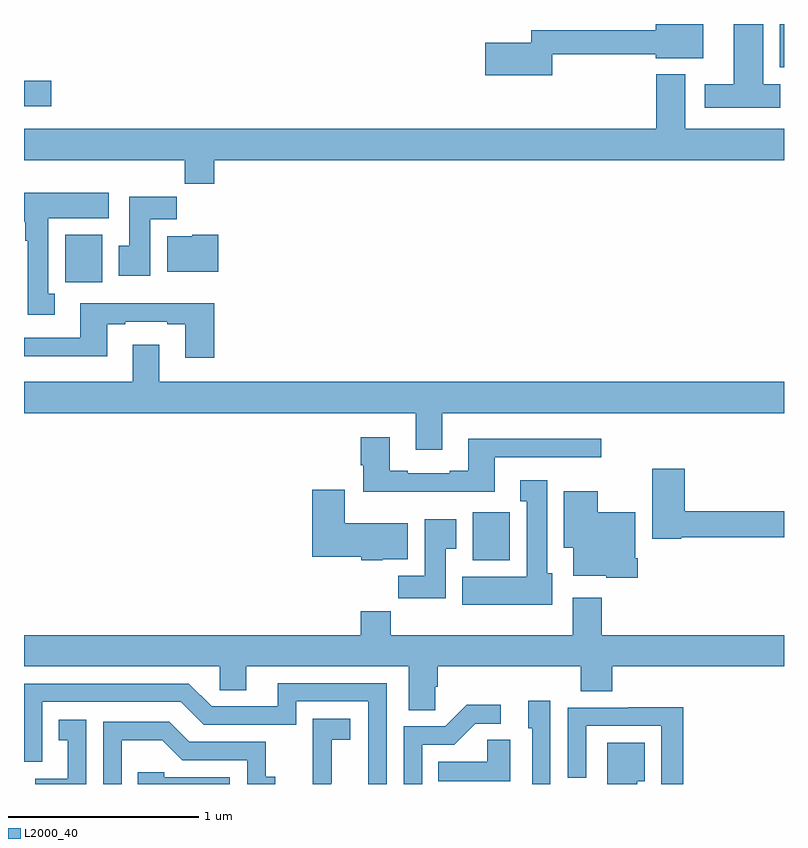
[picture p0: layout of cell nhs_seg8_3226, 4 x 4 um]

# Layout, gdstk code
import gdstk
lib = gdstk.Library(unit=1e-6, precision=1e-09)
def R(c, l, rs):  # rectangles x0, y0, x1, y1
    for r in rs: c.add(gdstk.rectangle(r[:2], r[2:], *l))
def P(c, l, *ps):  # polygons
    for p in ps: c.add(gdstk.Polygon(p, *l))
L2000_40 = (2000, 40)

nhs_seg8_3226 = lib.new_cell('nhs_seg8_3226')
R(nhs_seg8_3226, L2000_40, [(313.361,1097.078,313.557,1097.329), (311.217,1098.54,311.413,1098.79), (311,1099.466,311.143,1099.601), (314.978,1099.673,315,1099.9)])
P(nhs_seg8_3226, L2000_40, [(314.98,1099.582),(314.89,1099.582),(314.89,1099.9),(314.735,1099.9),(314.735,1099.582),(314.583,1099.582),(314.583,1099.46),(314.98,1099.46)],
  [(313.78,1099.74),(314.324,1099.74),(314.324,1099.721),(314.575,1099.721),(314.575,1099.9),(314.324,1099.9),(314.324,1099.868),(313.67,1099.868),(313.67,1099.802),(313.428,1099.802),(313.428,1099.631),(313.78,1099.631)],
  [(312.002,1099.184),(315,1099.184),(315,1099.348),(314.479,1099.348),(314.479,1099.636),(314.327,1099.636),(314.327,1099.348),(311,1099.348),(311,1099.184),(311.845,1099.184),(311.845,1099.06),(312.002,1099.06)],
  [(311.161,1098.481),(311.128,1098.481),(311.128,1098.878),(311.446,1098.878),(311.446,1099.012),(311,1099.012),(311,1098.858),(311.006,1098.858),(311.006,1098.758),(311.021,1098.758),(311.021,1098.369),(311.161,1098.369)],
  [(311.665,1098.872),(311.804,1098.872),(311.804,1098.991),(311.555,1098.991),(311.555,1098.732),(311.498,1098.732),(311.498,1098.576),(311.665,1098.576)],
  [(312.022,1098.79),(311.886,1098.79),(311.886,1098.784),(311.753,1098.784),(311.753,1098.596),(312.022,1098.596)],
  [(312.002,1098.43),(311.297,1098.43),(311.297,1098.249),(311,1098.249),(311,1098.152),(311.437,1098.152),(311.437,1098.321),(311.533,1098.321),(311.533,1098.333),(311.753,1098.333),(311.753,1098.321),(311.849,1098.321),(311.849,1098.144),(312.002,1098.144)],
  [(313.201,1097.852),(315,1097.852),(315,1098.016),(311.713,1098.016),(311.713,1098.211),(311.573,1098.211),(311.573,1098.016),(311,1098.016),(311,1097.852),(313.061,1097.852),(313.061,1097.658),(313.201,1097.658)],
  [(313.477,1097.619),(314.038,1097.619),(314.038,1097.716),(313.337,1097.716),(313.337,1097.548),(313.241,1097.548),(313.241,1097.535),(313.021,1097.535),(313.021,1097.548),(312.925,1097.548),(312.925,1097.725),(312.773,1097.725),(312.773,1097.577),(312.785,1097.577),(312.785,1097.438),(313.477,1097.438)],
  [(314.46,1097.2),(315,1097.2),(315,1097.336),(314.477,1097.336),(314.477,1097.56),(314.306,1097.56),(314.306,1097.192),(314.46,1097.192)],
  [(313.78,1097.01),(313.753,1097.01),(313.753,1097.5),(313.613,1097.5),(313.613,1097.387),(313.646,1097.387),(313.646,1096.99),(313.307,1096.99),(313.307,1096.844),(313.78,1096.844)],
  [(312.888,1097.084),(313.021,1097.084),(313.021,1097.272),(312.688,1097.272),(312.688,1097.449),(312.518,1097.449),(312.518,1097.096),(312.774,1097.096),(312.774,1097.078),(312.888,1097.078)],
  [(314.231,1097.089),(314.218,1097.089),(314.218,1097.329),(314.02,1097.329),(314.02,1097.44),(313.841,1097.44),(313.841,1097.144),(313.892,1097.144),(313.892,1096.997),(314.064,1096.997),(314.064,1096.985),(314.231,1096.985)],
  [(313.219,1097.137),(313.276,1097.137),(313.276,1097.293),(313.109,1097.293),(313.109,1096.996),(312.97,1096.996),(312.97,1096.878),(313.219,1096.878)],
  [(313.164,1096.411),(313.178,1096.411),(313.178,1096.52),(313.931,1096.52),(313.931,1096.387),(314.096,1096.387),(314.096,1096.52),(315,1096.52),(315,1096.684),(314.042,1096.684),(314.042,1096.879),(313.889,1096.879),(313.889,1096.684),(312.929,1096.684),(312.929,1096.808),(312.773,1096.808),(312.773,1096.684),(311,1096.684),(311,1096.52),(312.03,1096.52),(312.03,1096.393),(312.169,1096.393),(312.169,1096.52),(313.025,1096.52),(313.025,1096.288),(313.164,1096.288)],
  [(312.909,1096.431),(312.335,1096.431),(312.335,1096.308),(311.988,1096.308),(311.868,1096.428),(311,1096.428),(311,1096.017),(311.097,1096.017),(311.097,1096.332),(311.826,1096.332),(311.946,1096.212),(312.432,1096.212),(312.432,1096.335),(312.813,1096.335),(312.813,1095.9),(312.909,1095.9)],
  [(313.77,1096.339),(313.655,1096.339),(313.655,1096.194),(313.674,1096.194),(313.674,1095.9),(313.77,1095.9)],
  [(313.095,1096.107),(313.264,1096.107),(313.375,1096.218),(313.51,1096.218),(313.51,1096.316),(313.331,1096.316),(313.218,1096.203),(312.999,1096.203),(312.999,1095.9),(313.095,1095.9)],
  [(314.471,1096.304),(314.179,1096.304),(314.179,1096.302),(313.863,1096.302),(313.863,1095.933),(313.959,1095.933),(313.959,1096.206),(314.355,1096.206),(314.355,1095.9),(314.471,1095.9)],
  [(312.618,1095.905),(312.62,1095.905),(312.62,1096.133),(312.718,1096.133),(312.718,1096.243),(312.52,1096.243),(312.52,1096.037),(312.521,1096.037),(312.521,1095.9),(312.618,1095.9)],
  [(311.328,1096.237),(311.182,1096.237),(311.182,1096.131),(311.231,1096.131),(311.231,1095.927),(311.058,1095.927),(311.058,1095.9),(311.328,1095.9)],
  [(311.514,1096.13),(311.728,1096.13),(311.832,1096.026),(312.174,1096.026),(312.174,1095.9),(312.322,1095.9),(312.322,1095.937),(312.273,1095.937),(312.273,1096.122),(311.869,1096.122),(311.764,1096.227),(311.418,1096.227),(311.418,1095.9),(311.514,1095.9)],
  [(313.558,1096.133),(313.437,1096.133),(313.437,1096.018),(313.18,1096.018),(313.18,1095.914),(313.558,1095.914)],
  [(314.227,1095.914),(314.266,1095.914),(314.266,1096.117),(314.069,1096.117),(314.069,1095.9),(314.227,1095.9)],
  [(312.084,1095.936),(311.739,1095.936),(311.739,1095.963),(311.599,1095.963),(311.599,1095.9),(312.084,1095.9)])

lib.write_gds('nhs_seg8_3226.gds')
